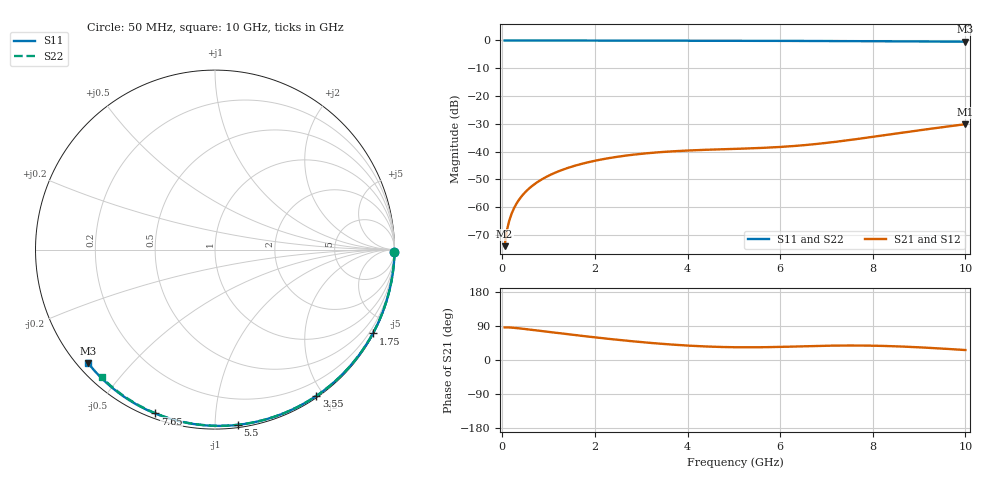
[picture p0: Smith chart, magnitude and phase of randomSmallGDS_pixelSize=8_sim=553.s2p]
! freq	dB(S11)	phase(S11)	dB(S12)	phase(S12)
!  dB(S21)	phase(S21)	dB(S22)	phase(S22)
!S-par simulation data
#  GHz  S  DB  R 50
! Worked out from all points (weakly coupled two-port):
!   200 points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, 50 MHz to 10 GHz, reference 50 ohm
!   highest |S21| = -30.16 dB at 10 GHz (marker M1); lowest = -74.1 dB at 50 MHz (marker M2)
!   lowest |S11| = -0.5 dB at 10 GHz (marker M3), VSWR 37.92, Z = 1.51 - j19.1 ohm
!   |S11| at or under -10 dB: nowhere
!   |S22| runs from -0.4 to 0.0 dB; largest |S21 - S12| = 0
!   S11 on the Smith chart (normalised r, x): 50 MHz: open; 1.75 GHz: 0.04, -4.02; 3.55 GHz: 0.02, -1.91; 5.5 GHz: 0.02, -1.14; 7.65 GHz: 0.02, -0.70; 10 GHz: 0.03, -0.38
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0.05  -0.00 -0.8  -74.07 86.0  -74.07 86.0  -0.00 -0.8
0.1  -0.00 -1.6  -68.32 86.0  -68.32 86.0  -0.00 -1.6
0.15  -0.00 -2.4  -64.89 85.9  -64.89 85.9  -0.00 -2.3
0.2  -0.00 -3.3  -62.42 85.5  -62.42 85.5  -0.00 -3.1
0.25  -0.00 -4.1  -60.51 85.0  -60.51 85.0  -0.00 -3.9
0.35  -0.00 -5.7  -57.61 83.7  -57.61 83.7  -0.00 -5.4
0.5  -0.01 -8.1  -54.55 81.6  -54.55 81.6  -0.01 -7.7
0.7  -0.01 -11.3  -51.68 78.7  -51.68 78.7  -0.01 -10.8
1  -0.02 -16.1  -48.70 74.2  -48.70 74.2  -0.02 -15.4
1.35  -0.03 -21.7  -46.26 69.0  -46.26 69.0  -0.03 -20.7
1.75  -0.04 -28.0  -44.27 63.3  -44.27 63.3  -0.03 -26.7
2.5  -0.05 -39.6  -41.84 53.2  -41.84 53.2  -0.05 -37.7
3.4  -0.07 -53.1  -40.23 43.1  -40.23 43.1  -0.07 -50.6
3.55  -0.07 -55.3  -40.05 41.7  -40.05 41.7  -0.07 -52.8
4.3  -0.09 -66.1  -39.42 36.2  -39.42 36.2  -0.09 -63.1
5.05  -0.12 -76.5  -39.02 33.6  -39.02 33.6  -0.11 -73.1
5.5  -0.13 -82.6  -38.76 33.6  -38.76 33.6  -0.13 -78.9
6.7  -0.19 -98.2  -37.42 36.8  -37.42 36.8  -0.18 -93.9
7.65  -0.25 -110.1  -35.52 38.2  -35.52 38.2  -0.23 -105.2
8.35  -0.30 -118.6  -33.88 36.7  -33.88 36.7  -0.28 -113.3
9.2  -0.37 -128.7  -31.90 32.2  -31.90 32.2  -0.36 -122.8
10  -0.46 -138.1  -30.16 26.3  -30.16 26.3  -0.44 -131.7
